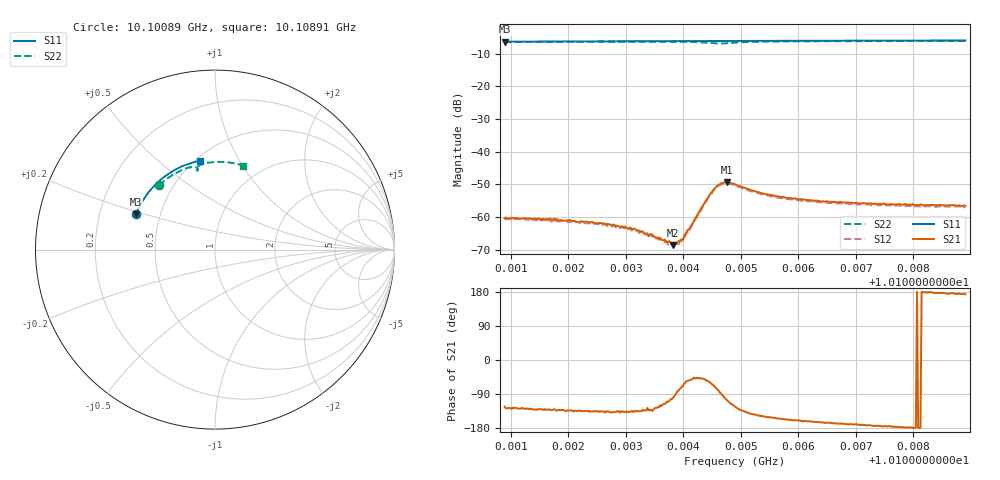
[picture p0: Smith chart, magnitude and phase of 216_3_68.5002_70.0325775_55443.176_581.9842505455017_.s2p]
#  HZ  S  RI  R  50.00
! Rohde & Schwarz Vector Network Analyzer
! Rohde-Schwarz,ZNB20-2Port,1311601062101988,3.16
! Created: UTC 3/20/2024, 4:58:15 PM
! freq[Hz]  re:S11  im:S11  re:S21  im:S21  re:S12  im:S12  re:S22  im:S22
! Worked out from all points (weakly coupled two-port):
!   401 points, 10.10089 GHz to 10.10891 GHz, reference 50 ohm
!   highest |S21| = -49.35 dB at 10.10476 GHz (marker M1); lowest = -68.6 dB at 10.10382 GHz (marker M2)
!   lowest |S11| = -6.3 dB at 10.10089 GHz (marker M3), VSWR 2.86, Z = 18.2 + j9.35 ohm
!   |S11| at or under -10 dB: nowhere
!   |S22| runs from -6.9 to -6.1 dB; largest |S21 - S12| = 0.00035
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1.0100888e10  -0.4392 0.1972  -0.000525 -0.000806  -0.000485 -0.000805  -0.3107 0.358
1.010171e10  -0.4189 0.2429  -0.000623 -0.000684  -0.000502 -0.000681  -0.2701 0.3926
1.0102232e10  -0.4034 0.2707  -0.00061 -0.00062  -0.000544 -0.000636  -0.2423 0.4121
1.0102613e10  -0.3911 0.2904  -0.000576 -0.000557  -0.000539 -0.000559  -0.2211 0.4251
1.0103114e10  -0.3735 0.315  -0.000454 -0.000459  -0.000414 -0.000481  -0.191 0.4404
1.0103435e10  -0.3614 0.3303  -0.000361 -0.00042  -0.000317 -0.000432  -0.171 0.4489
1.0103575e10  -0.3557 0.3368  -0.000257 -0.000373  -0.000222 -0.000412  -0.1616 0.4524
1.0103816e10  -0.3461 0.3477  -6.27e-05 -0.000367  -3.17e-05 -0.000359  -0.1449 0.4574
1.0103856e10  -0.3443 0.3495  -1.57e-05 -0.000404  4.25e-05 -0.000374  -0.142 0.4581
1.0103936e10  -0.3409 0.3531  0.000102 -0.000439  0.000126 -0.000399  -0.1359 0.4593
1.0103996e10  -0.3385 0.3556  0.000178 -0.000415  0.000208 -0.000433  -0.1313 0.4601
1.0104157e10  -0.3317 0.3627  0.000501 -0.000612  0.000541 -0.000543  -0.1183 0.4606
1.0104437e10  -0.3194 0.3742  0.00112 -0.0017  0.00124 -0.00158  -0.0966 0.4516
1.0104538e10  -0.3149 0.3784  0.000974 -0.00253  0.00111 -0.00237  -0.0942 0.4446
1.0104658e10  -0.3095 0.3834  6.12e-05 -0.0033  0.000308 -0.00314  -0.0988 0.4399
1.0104758e10  -0.305 0.3873  -0.000929 -0.00328  -0.000622 -0.0032  -0.1034 0.4436
1.0104899e10  -0.2986 0.3928  -0.00172 -0.00265  -0.00144 -0.00267  -0.1024 0.4542
1.0105219e10  -0.2834 0.4049  -0.00205 -0.00149  -0.0018 -0.00162  -0.0831 0.4712
1.010556e10  -0.2666 0.4171  -0.0019 -0.00101  -0.00176 -0.00109  -0.059 0.4797
1.0106242e10  -0.2318 0.4392  -0.00172 -0.000549  -0.0016 -0.000646  -0.0128 0.4873
1.0107585e10  -0.1584 0.4738  -0.00156 -0.00014  -0.00149 -0.000272  0.0746 0.4856
1.0108909e10  -0.0812 0.4954  -0.00148 0.000169  -0.00144 1.27e-05  0.1577 0.4683
